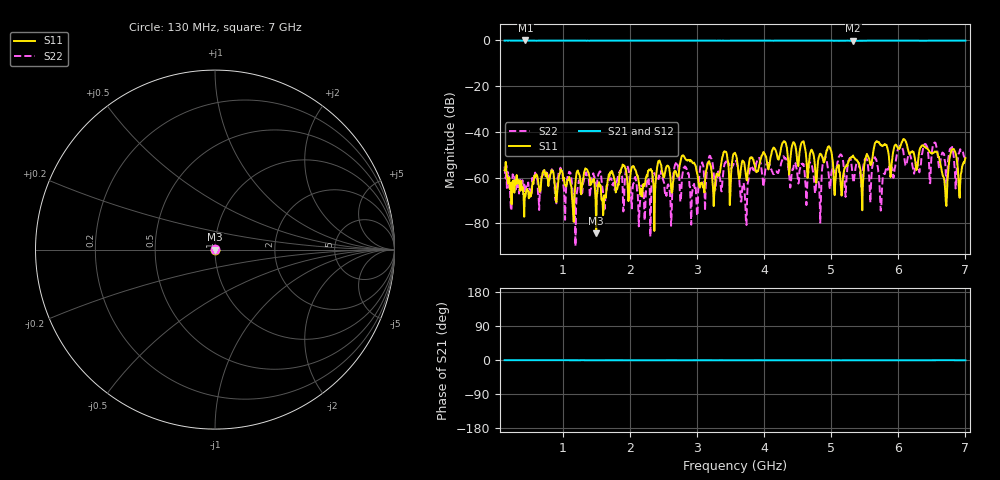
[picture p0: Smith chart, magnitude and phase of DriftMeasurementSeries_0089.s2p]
# Hz S RI R 50.000000
! Metas.Vna.Tools, 2.8.8664.20301
! Metas.Vna.Data, 2.8.8664.20285
! Created: UTC 2024.02.11 10:08:49
! FREQ  re:S1,1  im:S1,1  re:S2,1  im:S2,1  re:S1,2  im:S1,2  re:S2,2  im:S2,2
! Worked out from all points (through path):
!   801 points, 130 MHz to 7 GHz, reference 50 ohm
!   highest |S21| = -0.05 dB at 439.1 MHz (marker M1); lowest = -0.2 dB at 5.325 GHz (marker M2)
!   lowest |S11| = -84.3 dB at 1.495 GHz (marker M3), VSWR 1.00, Z = 50 + j0.00131 ohm
!   |S11| at or under -10 dB: start of sweep to end of sweep
!   |S22| runs from -90.0 to -44.7 dB; largest |S21 - S12| = 0.024
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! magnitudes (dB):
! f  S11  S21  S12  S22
! 130 MHz  -56.9  -0.1  0.0  -55.2
! 439.1 MHz  -68.2  -0.1  0.0  -65.8
! 1.281 GHz  -64.3  -0.1  0.0  -67.0
! 1.495 GHz  -84.3  -0.1  0.0  -72.0
! 2.423 GHz  -52.8  -0.2  0.0  -61.3
! 3.264 GHz  -65.0  -0.1  0.0  -64.1
! 3.565 GHz  -49.2  -0.1  0.0  -52.9
! 3.711 GHz  -55.2  -0.1  0.0  -67.6
! 3.917 GHz  -56.0  -0.1  0.0  -51.7
! 4.716 GHz  -48.3  -0.1  0.0  -55.3
! 4.819 GHz  -50.8  -0.1  0.0  -63.0
! 4.896 GHz  -53.1  -0.1  0.0  -51.3
! 5.154 GHz  -67.9  -0.2  0.0  -50.2
! 5.325 GHz  -50.4  -0.2  0.0  -60.9
! 5.454 GHz  -65.8  -0.2  0.0  -63.0
! 5.678 GHz  -44.1  -0.1  0.0  -53.0
! 5.858 GHz  -50.3  -0.1  0.0  -55.9
! 6.382 GHz  -46.4  -0.2  0.0  -46.4
! 6.699 GHz  -65.7  -0.1  0.0  -53.6
! 6.802 GHz  -47.9  -0.1  0.0  -46.6
! 6.914 GHz  -68.9  -0.1  0.0  -48.5
! 7 GHz  -51.5  -0.1  0.0  -52.0
